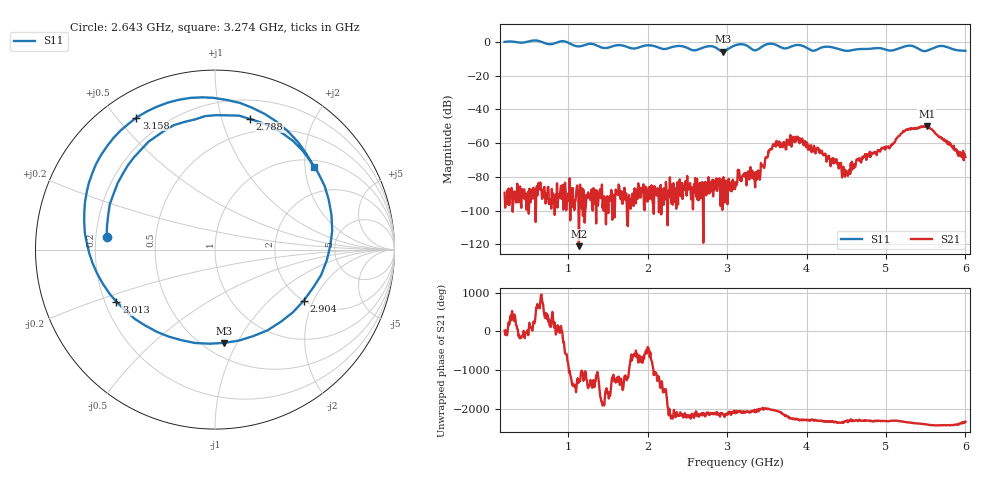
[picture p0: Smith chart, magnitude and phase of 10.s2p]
! NanoVNA-App by OneOfEleven et al v1.1.209 (+OD15)
! Date: 2024-07-30 15:18:00
! Start: 200MHz Stop: 6GHz Points: 801
! S-Parameter data: F S11 S21 S12 S22
# Hz S RI R 50
!  Frequency  S11_Real  S11_Imag  S21_Real  S21_Imag  S12_Real  S12_Imag  S22_Real  S22_Imag
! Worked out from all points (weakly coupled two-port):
!   801 points, 200 MHz to 6 GHz, reference 50 ohm
!   highest |S21| = -49.87 dB at 5.514 GHz (marker M1); lowest = -121.1 dB at 1.135 GHz (marker M2)
!   lowest |S11| = -5.6 dB at 2.948 GHz (marker M3), VSWR 3.19, Z = 31.1 - j44.5 ohm
!   |S11| at or under -10 dB: nowhere
!   S12 and S22 are empty: the file has one direction only
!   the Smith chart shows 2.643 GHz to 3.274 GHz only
!   S11 on the Smith chart (normalised r, x): 2.643 GHz: 0.24, +0.05; 2.788 GHz: 0.37, +1.23; 2.904 GHz: 2.01, -1.69; 3.013 GHz: 0.25, -0.23; 3.158 GHz: 0.10, +0.56; 3.274 GHz: 1.18, +2.23
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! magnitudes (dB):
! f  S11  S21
! 200 MHz  0.0  -89.4
! 1.135 GHz  -2.6  -121.1
! 1.171 GHz  -2.3  -98.8
! 2.136 GHz  -3.2  -87.0
! 2.643 GHz  -4.3  -93.9
! 2.788 GHz  -2.5  -89.1
! 2.904 GHz  -4.9  -80.9
! 2.948 GHz  -5.6  -91.4
! 3.013 GHz  -4.1  -85.6
! 3.1 GHz  -2.0  -87.3
! 3.158 GHz  -1.4  -79.2
! 3.274 GHz  -2.9  -80.3
! 3.39 GHz  -4.3  -76.2
! 3.607 GHz  -1.5  -60.1
! 3.861 GHz  -1.9  -56.3
! 4.072 GHz  -5.1  -64.2
! 4.514 GHz  -5.3  -77.5
! 4.652 GHz  -4.3  -69.6
! 5.036 GHz  -5.0  -62.3
! 5.246 GHz  -2.5  -52.5
! 5.514 GHz  -5.2  -49.9
! 6 GHz  -5.2  -68.2
